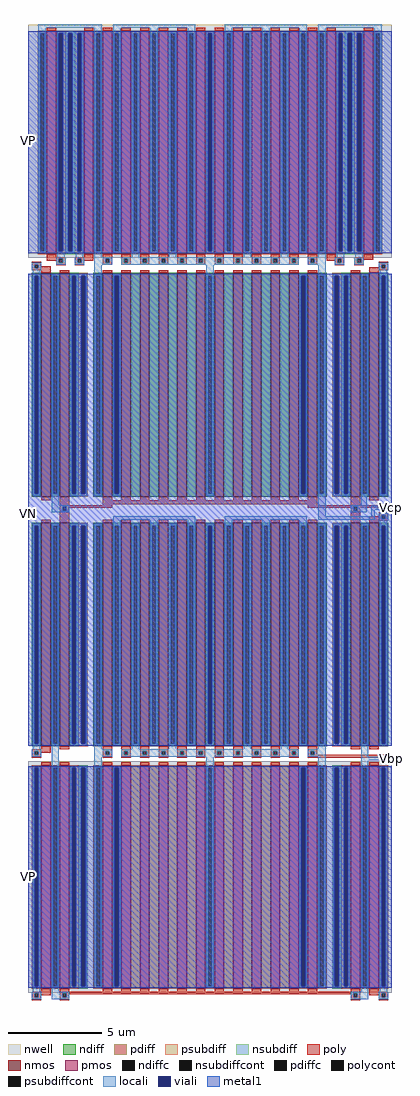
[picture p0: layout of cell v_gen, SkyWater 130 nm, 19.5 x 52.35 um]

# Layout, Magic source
magic
tech sky130A
<< nwell >>
rect -370 1420 1580 2670
rect -370 -2520 1580 -1280
<< nmos >>
rect -300 140 -250 1340
rect -200 140 -150 1340
rect 30 140 80 1340
rect 130 140 180 1340
rect 230 140 280 1340
rect 330 140 380 1340
rect 430 140 480 1340
rect 530 140 580 1340
rect 630 140 680 1340
rect 730 140 780 1340
rect 830 140 880 1340
rect 930 140 980 1340
rect 1030 140 1080 1340
rect 1130 140 1180 1340
rect 1360 140 1410 1340
rect 1460 140 1510 1340
rect -300 -1200 -250 0
rect -200 -1200 -150 0
rect 30 -1200 80 0
rect 130 -1200 180 0
rect 230 -1200 280 0
rect 330 -1200 380 0
rect 430 -1200 480 0
rect 530 -1200 580 0
rect 630 -1200 680 0
rect 730 -1200 780 0
rect 830 -1200 880 0
rect 930 -1200 980 0
rect 1030 -1200 1080 0
rect 1130 -1200 1180 0
rect 1360 -1200 1410 0
rect 1460 -1200 1510 0
<< pmos >>
rect -270 1440 -220 2640
rect -70 1440 -20 2640
rect 30 1440 80 2640
rect 130 1440 180 2640
rect 230 1440 280 2640
rect 330 1440 380 2640
rect 430 1440 480 2640
rect 530 1440 580 2640
rect 630 1440 680 2640
rect 730 1440 780 2640
rect 830 1440 880 2640
rect 930 1440 980 2640
rect 1030 1440 1080 2640
rect 1130 1440 1180 2640
rect 1230 1440 1280 2640
rect 1430 1440 1480 2640
rect -300 -2500 -250 -1300
rect -200 -2500 -150 -1300
rect 30 -2500 80 -1300
rect 130 -2500 180 -1300
rect 230 -2500 280 -1300
rect 330 -2500 380 -1300
rect 430 -2500 480 -1300
rect 530 -2500 580 -1300
rect 630 -2500 680 -1300
rect 730 -2500 780 -1300
rect 830 -2500 880 -1300
rect 930 -2500 980 -1300
rect 1030 -2500 1080 -1300
rect 1130 -2500 1180 -1300
rect 1360 -2500 1410 -1300
rect 1460 -2500 1510 -1300
<< ndiff >>
rect -350 1325 -300 1340
rect -350 155 -335 1325
rect -315 155 -300 1325
rect -350 140 -300 155
rect -250 1325 -200 1340
rect -250 155 -235 1325
rect -215 155 -200 1325
rect -250 140 -200 155
rect -150 1325 -100 1340
rect -150 155 -135 1325
rect -115 155 -100 1325
rect -150 140 -100 155
rect -20 1325 30 1340
rect -20 155 -5 1325
rect 15 155 30 1325
rect -20 140 30 155
rect 80 1325 130 1340
rect 80 155 95 1325
rect 115 155 130 1325
rect 80 140 130 155
rect 180 140 230 1340
rect 280 140 330 1340
rect 380 140 430 1340
rect 480 140 530 1340
rect 580 1325 630 1340
rect 580 155 595 1325
rect 615 155 630 1325
rect 580 140 630 155
rect 680 140 730 1340
rect 780 140 830 1340
rect 880 140 930 1340
rect 980 140 1030 1340
rect 1080 1325 1130 1340
rect 1080 155 1095 1325
rect 1115 155 1130 1325
rect 1080 140 1130 155
rect 1180 1325 1230 1340
rect 1180 155 1195 1325
rect 1215 155 1230 1325
rect 1180 140 1230 155
rect 1310 1325 1360 1340
rect 1310 155 1325 1325
rect 1345 155 1360 1325
rect 1310 140 1360 155
rect 1410 1325 1460 1340
rect 1410 155 1425 1325
rect 1445 155 1460 1325
rect 1410 140 1460 155
rect 1510 1325 1560 1340
rect 1510 155 1525 1325
rect 1545 155 1560 1325
rect 1510 140 1560 155
rect -350 -15 -300 0
rect -350 -1185 -335 -15
rect -315 -1185 -300 -15
rect -350 -1200 -300 -1185
rect -250 -15 -200 0
rect -250 -1185 -235 -15
rect -215 -1185 -200 -15
rect -250 -1200 -200 -1185
rect -150 -15 -100 0
rect -150 -1185 -135 -15
rect -115 -1185 -100 -15
rect -150 -1200 -100 -1185
rect -20 -15 30 0
rect -20 -1185 -5 -15
rect 15 -1185 30 -15
rect -20 -1200 30 -1185
rect 80 -15 130 0
rect 80 -1185 95 -15
rect 115 -1185 130 -15
rect 80 -1200 130 -1185
rect 180 -15 230 0
rect 180 -1185 195 -15
rect 215 -1185 230 -15
rect 180 -1200 230 -1185
rect 280 -15 330 0
rect 280 -1185 295 -15
rect 315 -1185 330 -15
rect 280 -1200 330 -1185
rect 380 -15 430 0
rect 380 -1185 395 -15
rect 415 -1185 430 -15
rect 380 -1200 430 -1185
rect 480 -15 530 0
rect 480 -1185 495 -15
rect 515 -1185 530 -15
rect 480 -1200 530 -1185
rect 580 -15 630 0
rect 580 -1185 595 -15
rect 615 -1185 630 -15
rect 580 -1200 630 -1185
rect 680 -15 730 0
rect 680 -1185 695 -15
rect 715 -1185 730 -15
rect 680 -1200 730 -1185
rect 780 -15 830 0
rect 780 -1185 795 -15
rect 815 -1185 830 -15
rect 780 -1200 830 -1185
rect 880 -15 930 0
rect 880 -1185 895 -15
rect 915 -1185 930 -15
rect 880 -1200 930 -1185
rect 980 -15 1030 0
rect 980 -1185 995 -15
rect 1015 -1185 1030 -15
rect 980 -1200 1030 -1185
rect 1080 -15 1130 0
rect 1080 -1185 1095 -15
rect 1115 -1185 1130 -15
rect 1080 -1200 1130 -1185
rect 1180 -15 1230 0
rect 1180 -1185 1195 -15
rect 1215 -1185 1230 -15
rect 1180 -1200 1230 -1185
rect 1310 -15 1360 0
rect 1310 -1185 1325 -15
rect 1345 -1185 1360 -15
rect 1310 -1200 1360 -1185
rect 1410 -15 1460 0
rect 1410 -1185 1425 -15
rect 1445 -1185 1460 -15
rect 1410 -1200 1460 -1185
rect 1510 -15 1560 0
rect 1510 -1185 1525 -15
rect 1545 -1185 1560 -15
rect 1510 -1200 1560 -1185
<< pdiff >>
rect -320 2625 -270 2640
rect -320 1455 -305 2625
rect -285 1455 -270 2625
rect -320 1440 -270 1455
rect -220 2625 -170 2640
rect -120 2625 -70 2640
rect -220 1455 -205 2625
rect -185 1455 -170 2625
rect -120 1455 -105 2625
rect -85 1455 -70 2625
rect -220 1440 -170 1455
rect -120 1440 -70 1455
rect -20 2625 30 2640
rect -20 1455 -5 2625
rect 15 1455 30 2625
rect -20 1440 30 1455
rect 80 2625 130 2640
rect 80 1455 95 2625
rect 115 1455 130 2625
rect 80 1440 130 1455
rect 180 2625 230 2640
rect 180 1455 195 2625
rect 215 1455 230 2625
rect 180 1440 230 1455
rect 280 2625 330 2640
rect 280 1455 295 2625
rect 315 1455 330 2625
rect 280 1440 330 1455
rect 380 2625 430 2640
rect 380 1455 395 2625
rect 415 1455 430 2625
rect 380 1440 430 1455
rect 480 2625 530 2640
rect 480 1455 495 2625
rect 515 1455 530 2625
rect 480 1440 530 1455
rect 580 2625 630 2640
rect 580 1455 595 2625
rect 615 1455 630 2625
rect 580 1440 630 1455
rect 680 2625 730 2640
rect 680 1455 695 2625
rect 715 1455 730 2625
rect 680 1440 730 1455
rect 780 2625 830 2640
rect 780 1455 795 2625
rect 815 1455 830 2625
rect 780 1440 830 1455
rect 880 2625 930 2640
rect 880 1455 895 2625
rect 915 1455 930 2625
rect 880 1440 930 1455
rect 980 2625 1030 2640
rect 980 1455 995 2625
rect 1015 1455 1030 2625
rect 980 1440 1030 1455
rect 1080 2625 1130 2640
rect 1080 1455 1095 2625
rect 1115 1455 1130 2625
rect 1080 1440 1130 1455
rect 1180 2625 1230 2640
rect 1180 1455 1195 2625
rect 1215 1455 1230 2625
rect 1180 1440 1230 1455
rect 1280 2625 1330 2640
rect 1380 2625 1430 2640
rect 1280 1455 1295 2625
rect 1315 1455 1330 2625
rect 1380 1455 1395 2625
rect 1415 1455 1430 2625
rect 1280 1440 1330 1455
rect 1380 1440 1430 1455
rect 1480 2625 1530 2640
rect 1480 1455 1495 2625
rect 1515 1455 1530 2625
rect 1480 1440 1530 1455
rect -350 -1315 -300 -1300
rect -350 -2485 -335 -1315
rect -315 -2485 -300 -1315
rect -350 -2500 -300 -2485
rect -250 -1315 -200 -1300
rect -250 -2485 -235 -1315
rect -215 -2485 -200 -1315
rect -250 -2500 -200 -2485
rect -150 -1315 -100 -1300
rect -150 -2485 -135 -1315
rect -115 -2485 -100 -1315
rect -150 -2500 -100 -2485
rect -20 -1315 30 -1300
rect -20 -2485 -5 -1315
rect 15 -2485 30 -1315
rect -20 -2500 30 -2485
rect 80 -1315 130 -1300
rect 80 -2485 95 -1315
rect 115 -2485 130 -1315
rect 80 -2500 130 -2485
rect 180 -2500 230 -1300
rect 280 -2500 330 -1300
rect 380 -2500 430 -1300
rect 480 -2500 530 -1300
rect 580 -1315 630 -1300
rect 580 -2485 595 -1315
rect 615 -2485 630 -1315
rect 580 -2500 630 -2485
rect 680 -2500 730 -1300
rect 780 -2500 830 -1300
rect 880 -2500 930 -1300
rect 980 -2500 1030 -1300
rect 1080 -1315 1130 -1300
rect 1080 -2485 1095 -1315
rect 1115 -2485 1130 -1315
rect 1080 -2500 1130 -2485
rect 1180 -1315 1230 -1300
rect 1180 -2485 1195 -1315
rect 1215 -2485 1230 -1315
rect 1180 -2500 1230 -2485
rect 1310 -1315 1360 -1300
rect 1310 -2485 1325 -1315
rect 1345 -2485 1360 -1315
rect 1310 -2500 1360 -2485
rect 1410 -1315 1460 -1300
rect 1410 -2485 1425 -1315
rect 1445 -2485 1460 -1315
rect 1410 -2500 1460 -2485
rect 1510 -1315 1560 -1300
rect 1510 -2485 1525 -1315
rect 1545 -2485 1560 -1315
rect 1510 -2500 1560 -2485
<< ndiffc >>
rect -335 155 -315 1325
rect -235 155 -215 1325
rect -135 155 -115 1325
rect -5 155 15 1325
rect 95 155 115 1325
rect 595 155 615 1325
rect 1095 155 1115 1325
rect 1195 155 1215 1325
rect 1325 155 1345 1325
rect 1425 155 1445 1325
rect 1525 155 1545 1325
rect -335 -1185 -315 -15
rect -235 -1185 -215 -15
rect -135 -1185 -115 -15
rect -5 -1185 15 -15
rect 95 -1185 115 -15
rect 195 -1185 215 -15
rect 295 -1185 315 -15
rect 395 -1185 415 -15
rect 495 -1185 515 -15
rect 595 -1185 615 -15
rect 695 -1185 715 -15
rect 795 -1185 815 -15
rect 895 -1185 915 -15
rect 995 -1185 1015 -15
rect 1095 -1185 1115 -15
rect 1195 -1185 1215 -15
rect 1325 -1185 1345 -15
rect 1425 -1185 1445 -15
rect 1525 -1185 1545 -15
<< pdiffc >>
rect -305 1455 -285 2625
rect -205 1455 -185 2625
rect -105 1455 -85 2625
rect -5 1455 15 2625
rect 95 1455 115 2625
rect 195 1455 215 2625
rect 295 1455 315 2625
rect 395 1455 415 2625
rect 495 1455 515 2625
rect 595 1455 615 2625
rect 695 1455 715 2625
rect 795 1455 815 2625
rect 895 1455 915 2625
rect 995 1455 1015 2625
rect 1095 1455 1115 2625
rect 1195 1455 1215 2625
rect 1295 1455 1315 2625
rect 1395 1455 1415 2625
rect 1495 1455 1515 2625
rect -335 -2485 -315 -1315
rect -235 -2485 -215 -1315
rect -135 -2485 -115 -1315
rect -5 -2485 15 -1315
rect 95 -2485 115 -1315
rect 595 -2485 615 -1315
rect 1095 -2485 1115 -1315
rect 1195 -2485 1215 -1315
rect 1325 -2485 1345 -1315
rect 1425 -2485 1445 -1315
rect 1525 -2485 1545 -1315
<< psubdiff >>
rect -100 1325 -50 1340
rect -100 155 -85 1325
rect -65 155 -50 1325
rect -100 140 -50 155
rect 1260 1325 1310 1340
rect 1260 155 1275 1325
rect 1295 155 1310 1325
rect 1260 140 1310 155
rect -100 -15 -50 0
rect -100 -1185 -85 -15
rect -65 -1185 -50 -15
rect -100 -1200 -50 -1185
rect 1260 -15 1310 0
rect 1260 -1185 1275 -15
rect 1295 -1185 1310 -15
rect 1260 -1200 1310 -1185
<< nsubdiff >>
rect -170 2625 -120 2640
rect -170 1455 -155 2625
rect -135 1455 -120 2625
rect -170 1440 -120 1455
rect 1330 2625 1380 2640
rect 1330 1455 1345 2625
rect 1365 1455 1380 2625
rect 1330 1440 1380 1455
rect -100 -1315 -50 -1300
rect -100 -2485 -85 -1315
rect -65 -2485 -50 -1315
rect -100 -2500 -50 -2485
rect 1260 -1315 1310 -1300
rect 1260 -2485 1275 -1315
rect 1295 -2485 1310 -1315
rect 1260 -2500 1310 -2485
<< psubdiffcont >>
rect -85 155 -65 1325
rect 1275 155 1295 1325
rect -85 -1185 -65 -15
rect 1275 -1185 1295 -15
<< nsubdiffcont >>
rect -155 1455 -135 2625
rect 1345 1455 1365 2625
rect -85 -2485 -65 -1315
rect 1275 -2485 1295 -1315
<< poly >>
rect -270 2640 -220 2655
rect -70 2640 -20 2655
rect 30 2640 80 2655
rect 130 2640 180 2655
rect 230 2640 280 2655
rect 330 2640 380 2655
rect 430 2640 480 2655
rect 530 2640 580 2655
rect 630 2640 680 2655
rect 730 2640 780 2655
rect 830 2640 880 2655
rect 930 2640 980 2655
rect 1030 2640 1080 2655
rect 1130 2640 1180 2655
rect 1230 2640 1280 2655
rect 1430 2640 1480 2655
rect -270 1425 -220 1440
rect -70 1425 -20 1440
rect -270 1415 -170 1425
rect -270 1405 -205 1415
rect -350 1385 -300 1400
rect -350 1365 -335 1385
rect -315 1375 -300 1385
rect -220 1395 -205 1405
rect -185 1395 -170 1415
rect -220 1380 -170 1395
rect -120 1415 -20 1425
rect -120 1395 -105 1415
rect -85 1405 -20 1415
rect 30 1415 80 1440
rect -85 1395 -70 1405
rect -120 1380 -70 1395
rect 30 1395 45 1415
rect 65 1395 80 1415
rect 30 1385 80 1395
rect 130 1415 180 1440
rect 130 1395 145 1415
rect 165 1395 180 1415
rect 130 1385 180 1395
rect 230 1415 280 1440
rect 230 1395 245 1415
rect 265 1395 280 1415
rect 230 1385 280 1395
rect 330 1415 380 1440
rect 330 1395 345 1415
rect 365 1395 380 1415
rect 330 1385 380 1395
rect 430 1415 480 1440
rect 430 1395 445 1415
rect 465 1395 480 1415
rect 430 1385 480 1395
rect 530 1415 580 1440
rect 530 1395 545 1415
rect 565 1395 580 1415
rect 530 1385 580 1395
rect 630 1415 680 1440
rect 630 1395 645 1415
rect 665 1395 680 1415
rect 630 1385 680 1395
rect 730 1415 780 1440
rect 730 1395 745 1415
rect 765 1395 780 1415
rect 730 1385 780 1395
rect 830 1415 880 1440
rect 830 1395 845 1415
rect 865 1395 880 1415
rect 830 1385 880 1395
rect 930 1415 980 1440
rect 930 1395 945 1415
rect 965 1395 980 1415
rect 930 1385 980 1395
rect 1030 1415 1080 1440
rect 1030 1395 1045 1415
rect 1065 1395 1080 1415
rect 1030 1385 1080 1395
rect 1130 1415 1180 1440
rect 1130 1395 1145 1415
rect 1165 1395 1180 1415
rect 1230 1425 1280 1440
rect 1430 1425 1480 1440
rect 1230 1415 1325 1425
rect 1230 1405 1290 1415
rect 1130 1385 1180 1395
rect 1275 1395 1290 1405
rect 1310 1395 1325 1415
rect 1275 1380 1325 1395
rect 1380 1415 1480 1425
rect 1380 1395 1395 1415
rect 1415 1410 1480 1415
rect 1415 1395 1430 1410
rect 1380 1380 1430 1395
rect 1510 1385 1560 1400
rect -315 1365 -250 1375
rect 1510 1370 1525 1385
rect -350 1355 -250 1365
rect 1460 1365 1525 1370
rect 1545 1365 1560 1385
rect 1460 1355 1560 1365
rect -300 1340 -250 1355
rect -200 1340 -150 1355
rect 30 1340 80 1355
rect 130 1340 180 1355
rect 230 1340 280 1355
rect 330 1340 380 1355
rect 430 1340 480 1355
rect 530 1340 580 1355
rect 630 1340 680 1355
rect 730 1340 780 1355
rect 830 1340 880 1355
rect 930 1340 980 1355
rect 1030 1340 1080 1355
rect 1130 1340 1180 1355
rect 1360 1340 1410 1355
rect 1460 1340 1510 1355
rect -300 120 -250 140
rect -200 95 -150 140
rect 30 120 80 140
rect 130 120 180 140
rect 230 120 280 140
rect 330 120 380 140
rect 430 120 480 140
rect 530 120 580 140
rect 630 120 680 140
rect 730 120 780 140
rect 830 120 880 140
rect 930 120 980 140
rect 1030 120 1080 140
rect 1130 120 1180 140
rect 30 100 1180 120
rect 30 95 80 100
rect -200 85 80 95
rect -200 65 -185 85
rect -165 80 80 85
rect 1130 95 1180 100
rect 1360 95 1410 140
rect 1460 120 1510 140
rect 1130 85 1580 95
rect 1130 80 1375 85
rect -165 65 -150 80
rect -300 0 -250 15
rect -200 0 -150 65
rect 1360 65 1375 80
rect 1395 80 1580 85
rect 1395 65 1410 80
rect 30 0 80 15
rect 130 0 180 15
rect 230 0 280 15
rect 330 0 380 15
rect 430 0 480 15
rect 530 0 580 15
rect 630 0 680 15
rect 730 0 780 15
rect 830 0 880 15
rect 930 0 980 15
rect 1030 0 1080 15
rect 1130 0 1180 15
rect 1360 0 1410 65
rect 1510 40 1560 55
rect 1510 35 1525 40
rect 1460 20 1525 35
rect 1545 20 1560 40
rect 1460 10 1560 20
rect 1460 0 1510 10
rect -300 -1215 -250 -1200
rect -200 -1215 -150 -1200
rect -350 -1225 -250 -1215
rect -350 -1245 -335 -1225
rect -315 -1235 -250 -1225
rect 30 -1225 80 -1200
rect -315 -1245 -300 -1235
rect -350 -1260 -300 -1245
rect 30 -1245 45 -1225
rect 65 -1245 80 -1225
rect 30 -1260 80 -1245
rect 130 -1225 180 -1200
rect 130 -1245 145 -1225
rect 165 -1245 180 -1225
rect 130 -1260 180 -1245
rect 230 -1225 280 -1200
rect 230 -1245 245 -1225
rect 265 -1245 280 -1225
rect 230 -1260 280 -1245
rect 330 -1225 380 -1200
rect 330 -1245 345 -1225
rect 365 -1245 380 -1225
rect 330 -1260 380 -1245
rect 430 -1225 480 -1200
rect 430 -1245 445 -1225
rect 465 -1245 480 -1225
rect 430 -1260 480 -1245
rect 530 -1225 580 -1200
rect 530 -1245 545 -1225
rect 565 -1245 580 -1225
rect 530 -1260 580 -1245
rect 630 -1225 680 -1200
rect 630 -1245 645 -1225
rect 665 -1245 680 -1225
rect 630 -1260 680 -1245
rect 730 -1225 780 -1200
rect 730 -1245 745 -1225
rect 765 -1245 780 -1225
rect 730 -1260 780 -1245
rect 830 -1225 880 -1200
rect 830 -1245 845 -1225
rect 865 -1245 880 -1225
rect 830 -1260 880 -1245
rect 930 -1225 980 -1200
rect 930 -1245 945 -1225
rect 965 -1245 980 -1225
rect 930 -1260 980 -1245
rect 1030 -1225 1080 -1200
rect 1030 -1245 1045 -1225
rect 1065 -1245 1080 -1225
rect 1030 -1260 1080 -1245
rect 1130 -1225 1180 -1200
rect 1360 -1215 1410 -1200
rect 1460 -1215 1510 -1200
rect 1130 -1245 1145 -1225
rect 1165 -1245 1180 -1225
rect 1130 -1260 1580 -1245
rect -300 -1300 -250 -1285
rect -200 -1300 -150 -1285
rect 30 -1300 80 -1285
rect 130 -1300 180 -1285
rect 230 -1300 280 -1285
rect 330 -1300 380 -1285
rect 430 -1300 480 -1285
rect 530 -1300 580 -1285
rect 630 -1300 680 -1285
rect 730 -1300 780 -1285
rect 830 -1300 880 -1285
rect 930 -1300 980 -1285
rect 1030 -1300 1080 -1285
rect 1130 -1300 1180 -1285
rect 1360 -1300 1410 -1285
rect 1460 -1300 1510 -1285
rect -300 -2515 -250 -2500
rect -350 -2525 -250 -2515
rect -350 -2545 -335 -2525
rect -315 -2535 -250 -2525
rect -200 -2515 -150 -2500
rect 30 -2515 80 -2500
rect 130 -2515 180 -2500
rect 230 -2515 280 -2500
rect 330 -2515 380 -2500
rect 430 -2515 480 -2500
rect 530 -2515 580 -2500
rect 630 -2515 680 -2500
rect 730 -2515 780 -2500
rect 830 -2515 880 -2500
rect 930 -2515 980 -2500
rect 1030 -2515 1080 -2500
rect 1130 -2515 1180 -2500
rect 1360 -2515 1410 -2500
rect -200 -2525 1410 -2515
rect -315 -2545 -300 -2535
rect -350 -2560 -300 -2545
rect -200 -2545 -185 -2525
rect -165 -2530 1375 -2525
rect -165 -2545 -150 -2530
rect -200 -2560 -150 -2545
rect 1360 -2545 1375 -2530
rect 1395 -2545 1410 -2525
rect 1460 -2515 1510 -2500
rect 1460 -2525 1560 -2515
rect 1460 -2535 1525 -2525
rect 1360 -2560 1410 -2545
rect 1510 -2545 1525 -2535
rect 1545 -2545 1560 -2525
rect 1510 -2560 1560 -2545
<< polycont >>
rect -335 1365 -315 1385
rect -205 1395 -185 1415
rect -105 1395 -85 1415
rect 45 1395 65 1415
rect 145 1395 165 1415
rect 245 1395 265 1415
rect 345 1395 365 1415
rect 445 1395 465 1415
rect 545 1395 565 1415
rect 645 1395 665 1415
rect 745 1395 765 1415
rect 845 1395 865 1415
rect 945 1395 965 1415
rect 1045 1395 1065 1415
rect 1145 1395 1165 1415
rect 1290 1395 1310 1415
rect 1395 1395 1415 1415
rect 1525 1365 1545 1385
rect -185 65 -165 85
rect 1375 65 1395 85
rect 1525 20 1545 40
rect -335 -1245 -315 -1225
rect 45 -1245 65 -1225
rect 145 -1245 165 -1225
rect 245 -1245 265 -1225
rect 345 -1245 365 -1225
rect 445 -1245 465 -1225
rect 545 -1245 565 -1225
rect 645 -1245 665 -1225
rect 745 -1245 765 -1225
rect 845 -1245 865 -1225
rect 945 -1245 965 -1225
rect 1045 -1245 1065 -1225
rect 1145 -1245 1165 -1225
rect -335 -2545 -315 -2525
rect -185 -2545 -165 -2525
rect 1375 -2545 1395 -2525
rect 1525 -2545 1545 -2525
<< locali >>
rect -315 2655 25 2675
rect -315 2625 -275 2655
rect -315 1455 -305 2625
rect -285 1455 -275 2625
rect -315 1445 -275 1455
rect -215 2625 -75 2635
rect -215 1455 -205 2625
rect -185 1455 -155 2625
rect -135 1455 -105 2625
rect -85 1455 -75 2625
rect -215 1445 -75 1455
rect -215 1425 -175 1445
rect -115 1425 -75 1445
rect -15 2625 25 2655
rect -15 1455 -5 2625
rect 15 1455 25 2625
rect -15 1425 25 1455
rect 85 2655 525 2675
rect 85 2625 125 2655
rect 85 1455 95 2625
rect 115 1455 125 2625
rect 85 1445 125 1455
rect 185 2625 225 2635
rect 185 1455 195 2625
rect 215 1455 225 2625
rect 185 1425 225 1455
rect 285 2625 325 2655
rect 285 1455 295 2625
rect 315 1455 325 2625
rect 285 1445 325 1455
rect 385 2625 425 2635
rect 385 1455 395 2625
rect 415 1455 425 2625
rect 385 1425 425 1455
rect 485 2625 525 2655
rect 685 2655 1125 2675
rect 485 1455 495 2625
rect 515 1455 525 2625
rect 485 1445 525 1455
rect 585 2625 625 2635
rect 585 1455 595 2625
rect 615 1455 625 2625
rect 585 1445 625 1455
rect 685 2625 725 2655
rect 685 1455 695 2625
rect 715 1455 725 2625
rect 685 1445 725 1455
rect 785 2625 825 2635
rect 785 1455 795 2625
rect 815 1455 825 2625
rect 785 1425 825 1455
rect 885 2625 925 2655
rect 885 1455 895 2625
rect 915 1455 925 2625
rect 885 1445 925 1455
rect 985 2625 1025 2635
rect 985 1455 995 2625
rect 1015 1455 1025 2625
rect 985 1425 1025 1455
rect 1085 2625 1125 2655
rect 1085 1455 1095 2625
rect 1115 1455 1125 2625
rect 1085 1445 1125 1455
rect 1185 2655 1525 2675
rect 1185 2625 1225 2655
rect 1185 1455 1195 2625
rect 1215 1455 1225 2625
rect 1185 1425 1225 1455
rect 1285 2625 1425 2635
rect 1285 1455 1295 2625
rect 1315 1455 1345 2625
rect 1365 1455 1395 2625
rect 1415 1455 1425 2625
rect 1285 1445 1425 1455
rect 1485 2625 1525 2655
rect 1485 1455 1495 2625
rect 1515 1455 1525 2625
rect 1485 1445 1525 1455
rect 1285 1425 1325 1445
rect 1385 1425 1425 1445
rect -220 1415 -170 1425
rect -220 1395 -205 1415
rect -185 1395 -170 1415
rect -350 1385 -300 1395
rect -220 1385 -170 1395
rect -120 1415 -70 1425
rect -120 1395 -105 1415
rect -85 1395 -70 1415
rect -120 1385 -70 1395
rect -15 1415 80 1425
rect -15 1395 45 1415
rect 65 1395 80 1415
rect -15 1385 80 1395
rect 130 1415 1080 1425
rect 130 1395 145 1415
rect 165 1395 245 1415
rect 265 1395 345 1415
rect 365 1395 445 1415
rect 465 1395 545 1415
rect 565 1395 645 1415
rect 665 1395 745 1415
rect 765 1395 845 1415
rect 865 1395 945 1415
rect 965 1395 1045 1415
rect 1065 1395 1080 1415
rect 130 1385 1080 1395
rect 1130 1415 1225 1425
rect 1130 1395 1145 1415
rect 1165 1395 1225 1415
rect 1130 1385 1225 1395
rect 1275 1415 1325 1425
rect 1275 1395 1290 1415
rect 1310 1395 1325 1415
rect 1275 1385 1325 1395
rect 1380 1415 1430 1425
rect 1380 1395 1395 1415
rect 1415 1395 1430 1415
rect 1380 1385 1430 1395
rect 1510 1385 1560 1395
rect -350 1365 -335 1385
rect -315 1365 -300 1385
rect -350 1355 -300 1365
rect -345 1325 -305 1355
rect -345 155 -335 1325
rect -315 155 -305 1325
rect -345 145 -305 155
rect -245 1325 -205 1335
rect -245 155 -235 1325
rect -215 155 -205 1325
rect -245 95 -205 155
rect -145 1325 -55 1335
rect -145 155 -135 1325
rect -115 155 -85 1325
rect -65 155 -55 1325
rect -145 145 -55 155
rect -15 1325 25 1385
rect -15 155 -5 1325
rect 15 155 25 1325
rect -15 145 25 155
rect 85 1325 125 1335
rect 85 155 95 1325
rect 115 155 125 1325
rect 85 145 125 155
rect 585 1325 625 1385
rect 585 155 595 1325
rect 615 155 625 1325
rect 585 145 625 155
rect 1085 1325 1125 1335
rect 1085 155 1095 1325
rect 1115 155 1125 1325
rect 1085 145 1125 155
rect 1185 1325 1225 1385
rect 1510 1365 1525 1385
rect 1545 1365 1560 1385
rect 1510 1355 1560 1365
rect 1185 155 1195 1325
rect 1215 155 1225 1325
rect -245 85 -150 95
rect -245 65 -185 85
rect -165 65 -150 85
rect -245 55 -150 65
rect 1185 35 1225 155
rect 1265 1325 1355 1335
rect 1265 155 1275 1325
rect 1295 155 1325 1325
rect 1345 155 1355 1325
rect 1265 145 1355 155
rect 1415 1325 1455 1335
rect 1415 155 1425 1325
rect 1445 155 1455 1325
rect 1415 145 1455 155
rect 1515 1325 1555 1355
rect 1515 155 1525 1325
rect 1545 155 1555 1325
rect 1515 145 1555 155
rect 1415 95 1445 145
rect 1360 85 1445 95
rect 1360 65 1375 85
rect 1395 65 1445 85
rect 1360 55 1445 65
rect 1470 70 1580 90
rect 1470 35 1490 70
rect 85 15 525 35
rect -345 -15 -305 -5
rect -345 -1185 -335 -15
rect -315 -1185 -305 -15
rect -345 -1215 -305 -1185
rect -245 -15 -205 -5
rect -245 -1185 -235 -15
rect -215 -1185 -205 -15
rect -350 -1225 -300 -1215
rect -350 -1245 -335 -1225
rect -315 -1245 -300 -1225
rect -350 -1255 -300 -1245
rect -345 -1315 -305 -1305
rect -345 -2485 -335 -1315
rect -315 -2485 -305 -1315
rect -345 -2515 -305 -2485
rect -245 -1315 -205 -1185
rect -145 -15 -55 -5
rect -145 -1185 -135 -15
rect -115 -1185 -85 -15
rect -65 -1185 -55 -15
rect -145 -1195 -55 -1185
rect -15 -15 25 -5
rect -15 -1185 -5 -15
rect 15 -1185 25 -15
rect -15 -1215 25 -1185
rect 85 -15 125 15
rect 85 -1185 95 -15
rect 115 -1185 125 -15
rect 85 -1195 125 -1185
rect 185 -15 225 -5
rect 185 -1185 195 -15
rect 215 -1185 225 -15
rect 185 -1215 225 -1185
rect 285 -15 325 15
rect 285 -1185 295 -15
rect 315 -1185 325 -15
rect 285 -1195 325 -1185
rect 385 -15 425 -5
rect 385 -1185 395 -15
rect 415 -1185 425 -15
rect 385 -1215 425 -1185
rect 485 -15 525 15
rect 685 15 1125 35
rect 1185 15 1490 35
rect 1510 40 1560 50
rect 1510 20 1525 40
rect 1545 20 1560 40
rect 485 -1185 495 -15
rect 515 -1185 525 -15
rect 485 -1195 525 -1185
rect 585 -15 625 -5
rect 585 -1185 595 -15
rect 615 -1185 625 -15
rect 585 -1195 625 -1185
rect 685 -15 725 15
rect 685 -1185 695 -15
rect 715 -1185 725 -15
rect 685 -1195 725 -1185
rect 785 -15 825 -5
rect 785 -1185 795 -15
rect 815 -1185 825 -15
rect 785 -1215 825 -1185
rect 885 -15 925 15
rect 885 -1185 895 -15
rect 915 -1185 925 -15
rect 885 -1195 925 -1185
rect 985 -15 1025 -5
rect 985 -1185 995 -15
rect 1015 -1185 1025 -15
rect 985 -1215 1025 -1185
rect 1085 -15 1125 15
rect 1510 10 1560 20
rect 1085 -1185 1095 -15
rect 1115 -1185 1125 -15
rect 1085 -1195 1125 -1185
rect 1185 -15 1225 -5
rect 1185 -1185 1195 -15
rect 1215 -1185 1225 -15
rect 1185 -1215 1225 -1185
rect 1265 -15 1355 -5
rect 1265 -1185 1275 -15
rect 1295 -1185 1325 -15
rect 1345 -1185 1355 -15
rect 1265 -1195 1355 -1185
rect 1415 -15 1455 -5
rect 1415 -1185 1425 -15
rect 1445 -1185 1455 -15
rect -15 -1225 80 -1215
rect -15 -1245 45 -1225
rect 65 -1245 80 -1225
rect -15 -1255 80 -1245
rect 130 -1225 1080 -1215
rect 130 -1245 145 -1225
rect 165 -1245 245 -1225
rect 265 -1245 345 -1225
rect 365 -1245 445 -1225
rect 465 -1245 545 -1225
rect 565 -1245 645 -1225
rect 665 -1245 745 -1225
rect 765 -1245 845 -1225
rect 865 -1245 945 -1225
rect 965 -1245 1045 -1225
rect 1065 -1245 1080 -1225
rect 130 -1255 1080 -1245
rect 1130 -1225 1225 -1215
rect 1130 -1245 1145 -1225
rect 1165 -1245 1225 -1225
rect 1130 -1255 1225 -1245
rect -245 -2485 -235 -1315
rect -215 -2485 -205 -1315
rect -245 -2515 -205 -2485
rect -145 -1315 -55 -1305
rect -145 -2485 -135 -1315
rect -115 -2485 -85 -1315
rect -65 -2485 -55 -1315
rect -145 -2495 -55 -2485
rect -15 -1315 25 -1255
rect -15 -2485 -5 -1315
rect 15 -2485 25 -1315
rect -15 -2495 25 -2485
rect 85 -1315 125 -1305
rect 85 -2485 95 -1315
rect 115 -2485 125 -1315
rect 85 -2495 125 -2485
rect 585 -1315 625 -1255
rect 585 -2485 595 -1315
rect 615 -2485 625 -1315
rect 585 -2495 625 -2485
rect 1085 -1315 1125 -1305
rect 1085 -2485 1095 -1315
rect 1115 -2485 1125 -1315
rect 1085 -2495 1125 -2485
rect 1185 -1315 1225 -1255
rect 1415 -1255 1455 -1185
rect 1515 -15 1555 10
rect 1515 -1185 1525 -15
rect 1545 -1185 1555 -15
rect 1515 -1195 1555 -1185
rect 1415 -1275 1580 -1255
rect 1185 -2485 1195 -1315
rect 1215 -2485 1225 -1315
rect 1185 -2495 1225 -2485
rect 1265 -1315 1355 -1305
rect 1265 -2485 1275 -1315
rect 1295 -2485 1325 -1315
rect 1345 -2485 1355 -1315
rect 1265 -2495 1355 -2485
rect 1415 -1315 1455 -1275
rect 1415 -2485 1425 -1315
rect 1445 -2485 1455 -1315
rect 1415 -2515 1455 -2485
rect 1515 -1315 1555 -1305
rect 1515 -2485 1525 -1315
rect 1545 -2485 1555 -1315
rect 1515 -2515 1555 -2485
rect -350 -2525 -300 -2515
rect -350 -2545 -335 -2525
rect -315 -2545 -300 -2525
rect -350 -2555 -300 -2545
rect -245 -2525 -150 -2515
rect -245 -2545 -185 -2525
rect -165 -2545 -150 -2525
rect -245 -2555 -150 -2545
rect 1360 -2525 1455 -2515
rect 1360 -2545 1375 -2525
rect 1395 -2545 1455 -2525
rect 1360 -2555 1455 -2545
rect 1510 -2525 1560 -2515
rect 1510 -2545 1525 -2525
rect 1545 -2545 1560 -2525
rect 1510 -2555 1560 -2545
<< viali >>
rect -205 1455 -185 2625
rect -155 1455 -135 2625
rect -105 1455 -85 2625
rect 595 1455 615 2625
rect 1295 1455 1315 2625
rect 1345 1455 1365 2625
rect 1395 1455 1415 2625
rect -335 155 -315 1325
rect -135 155 -115 1325
rect -85 155 -65 1325
rect 95 155 115 1325
rect 1095 155 1115 1325
rect 1275 155 1295 1325
rect 1325 155 1345 1325
rect 1525 155 1545 1325
rect -335 -1185 -315 -15
rect -335 -2485 -315 -1315
rect -135 -1185 -115 -15
rect -85 -1185 -65 -15
rect 595 -1185 615 -15
rect 1275 -1185 1295 -15
rect 1325 -1185 1345 -15
rect -135 -2485 -115 -1315
rect -85 -2485 -65 -1315
rect 95 -2485 115 -1315
rect 1095 -2485 1115 -1315
rect 1525 -1185 1545 -15
rect 1275 -2485 1295 -1315
rect 1325 -2485 1345 -1315
rect 1525 -2485 1545 -1315
<< metal1 >>
rect -370 2625 1580 2635
rect -370 1455 -205 2625
rect -185 1455 -155 2625
rect -135 1455 -105 2625
rect -85 1455 595 2625
rect 615 1455 1295 2625
rect 1315 1455 1345 2625
rect 1365 1455 1395 2625
rect 1415 1455 1580 2625
rect -370 1445 1580 1455
rect 1460 1335 1560 1340
rect -370 1325 1580 1335
rect -370 155 -335 1325
rect -315 155 -135 1325
rect -115 155 -85 1325
rect -65 155 95 1325
rect 115 155 1095 1325
rect 1115 155 1275 1325
rect 1295 155 1325 1325
rect 1345 155 1525 1325
rect 1545 155 1580 1325
rect -370 -15 1580 155
rect -370 -1185 -335 -15
rect -315 -1185 -135 -15
rect -115 -1185 -85 -15
rect -65 -1185 595 -15
rect 615 -1185 1275 -15
rect 1295 -1185 1325 -15
rect 1345 -1185 1525 -15
rect 1545 -1185 1580 -15
rect -370 -1195 1580 -1185
rect -370 -1315 1580 -1305
rect -370 -2485 -335 -1315
rect -315 -2485 -135 -1315
rect -115 -2485 -85 -1315
rect -65 -2485 95 -1315
rect 115 -2485 1095 -1315
rect 1115 -2485 1275 -1315
rect 1295 -2485 1325 -1315
rect 1345 -2485 1525 -1315
rect 1545 -2485 1580 -1315
rect -370 -2495 1580 -2485
<< labels >>
rlabel metal1 -370 2050 -370 2050 7 VP
port 6 w
rlabel locali 1580 80 1580 80 3 Vcp
port 3 e
rlabel locali 1580 -1265 1580 -1265 3 Vbp
port 5 e
rlabel poly 1580 -1250 1580 -1250 3 Vcn
port 10 e
rlabel metal1 -370 -1900 -370 -1900 7 VP
port 9 w
rlabel metal1 -370 50 -370 50 7 VN
port 7 w
rlabel poly 1580 90 1580 90 3 Vbn
port 8 e
<< end >>
